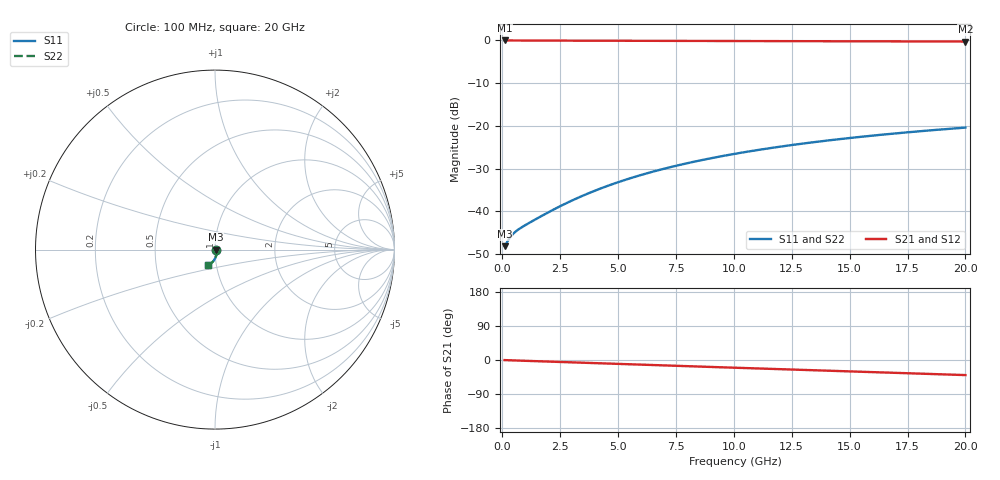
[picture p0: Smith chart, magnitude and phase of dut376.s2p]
! Touchstone file exported from HFSS 2026.1.0
!  File:  C:/ffzhzh/LocalFiles/Ansys_Project_Files/temp_train_TMRDL_376_1783004466_46388.aedt
!  Generated:  11:02:22 PM Jul  2, 2026
!  Design:  TMRDL
!  Project:  temp_train_TMRDL_376_1783004466_46388
! Variables:
!  h_bsmrdl = 2um
!  h_ox = 20um
!  h_rdl = 5um
!  h_sub = 80um
!  h_tmrdl = 4.21um
!  h_tsv = 80um
!  h_via = 3um
!  l_bsmrdl = 300um
!  l_sub = 1113.55um
!  l_tmrdl = 713.55um
!  m_sub = 200um
!  pitch = 19.17um
!  r_tsv = 6um
!  s_tmrdl = 10um
!  w_bsmrdl = 18um
!  w_sub = 500um
!  w_tmrdl = 16.35um
!  x_tsv_center1 = 721.725um
!  x_tsv_center2 = 1039.725um
!  x_tsv_center3 = 1769.625um
!  x_tsv_center4 = 2087.625um
!  x_tsv_center5 = 2817.525um
!  x_tsv_center6 = 3135.525um
# GHz S MA R 50.000000
! Terminal data exported
! Port[1] = TM_RDL1_1_T1
! Port[2] = TM_RDL1_1_T2
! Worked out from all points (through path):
!   200 points, 100 MHz to 20 GHz, reference 50 ohm
!   highest |S21| = -0.03 dB at 100 MHz (marker M1); lowest = -0.3 dB at 20 GHz (marker M2)
!   group delay of S21, straight-line fit = 5.5 ps
!   lowest |S11| = -48.2 dB at 100 MHz (marker M3), VSWR 1.01, Z = 50.4 + j0.034 ohm
!   |S11| at or under -10 dB: start of sweep to end of sweep
!   |S22| runs from -48.2 to -20.4 dB; largest |S21 - S12| = 2.8e-15
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0.1  0.003906 5.0  0.9961 -0.2  0.9961 -0.2  0.003906 5.0
! Gamma 0 0 0 0
! Port Impedance 50 0 50 0
0.3  0.004792 4.5  0.9952 -0.7  0.9952 -0.7  0.004792 4.5
0.4  0.005206 1.1  0.9948 -0.9  0.9948 -0.9  0.005206 1.1
0.5  0.005558 -2.9  0.9944 -1.1  0.9944 -1.1  0.005558 -2.9
0.6  0.005863 -7.0  0.9942 -1.3  0.9942 -1.3  0.005863 -7.0
0.8  0.006397 -14.6  0.9938 -1.7  0.9938 -1.7  0.006397 -14.6
1.4  0.007952 -32.0  0.993 -3.0  0.993 -3.0  0.007952 -32.0
2.2  0.01042 -46.5  0.9922 -4.6  0.9922 -4.6  0.01042 -46.5
2.9  0.01294 -54.7  0.9914 -6.1  0.9914 -6.1  0.01294 -54.6
3.5  0.01531 -59.8  0.9906 -7.3  0.9906 -7.3  0.01531 -59.8
4.3  0.01871 -65.1  0.9894 -8.9  0.9894 -8.9  0.01872 -65.1
5.1  0.02234 -69.4  0.9882 -10.5  0.9882 -10.5  0.02234 -69.4
5.9  0.02613 -73.1  0.9869 -12.2  0.9869 -12.2  0.02613 -73.1
6.8  0.03053 -76.8  0.9855 -14.0  0.9855 -14.0  0.03053 -76.8
7.6  0.03454 -79.9  0.9843 -15.6  0.9843 -15.6  0.03454 -79.8
8.4  0.0386 -82.7  0.9831 -17.1  0.9831 -17.1  0.0386 -82.6
10.1  0.04731 -88.3  0.9806 -20.5  0.9806 -20.5  0.04731 -88.2
11.7  0.05549 -93.1  0.9784 -23.6  0.9784 -23.6  0.05548 -93.0
13.4  0.06406 -97.9  0.9762 -27.0  0.9762 -27.0  0.06405 -97.8
15  0.07197 -102.2  0.9741 -30.1  0.9741 -30.1  0.07195 -102.1
16.7  0.08014 -106.5  0.9719 -33.4  0.9719 -33.4  0.08012 -106.4
20  0.09521 -114.5  0.9677 -39.8  0.9677 -39.8  0.09518 -114.3
